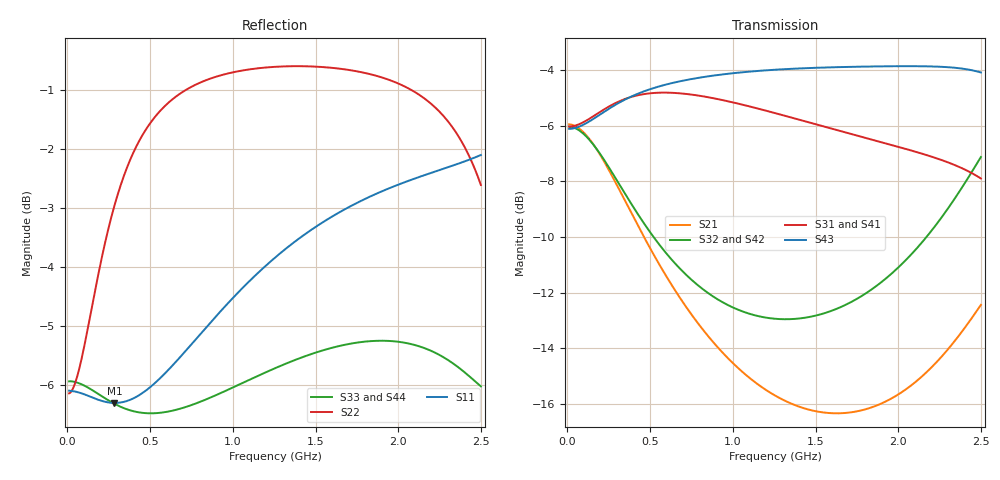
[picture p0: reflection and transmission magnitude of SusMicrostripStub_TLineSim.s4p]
! Touchstone file exported from HFSS 2020.2.0
!  File:  /home/kiran/Ansoft/SusMicrostripStub.aedt
!  Generated:  12:55:17 PM  Mar 16, 2021
!  Design:  TLineSim
!  Project:  SusMicrostripStub
!  Setup:  Setup1
!  Solution:  Sweep
! Variables:
!  AirBoxH = 11.32mm
!  CondT = 0.018mm
!  FeedL = 20mm
!  HighZL = 45mm
!  HighZW = 1mm
!  InputL = 18.4mm
!  InputW = 3.2mm
!  StubL = 16.9mm
!  StubTroughOffset = 5.4mm
!  StubW = 2mm
!  SubH = 0.787mm
!  SubOffset = 15mm
!  TroughH = 5mm
!  TroughW = 10mm
!  TroughW_Stub = 19.8mm
!  W50 = 2.47mm
# GHZ S MA R 50.000000
! Terminal data exported
! Port[1] = 1
! Port[2] = 2
! Port[3] = 3
! Port[4] = 4
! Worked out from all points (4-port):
!   401 points, 10 MHz to 2.5 GHz, reference 50 ohm
!   strongest paths, dB at 10 MHz, 632.5 MHz, 1.255 GHz, 1.877 GHz, 2.5 GHz:
!     S43: -6.1, -4.5, -4.0, -3.9, -4.1
!     S31: -6.0, -4.8, -5.5, -6.6, -7.9
!     S41: -6.0, -4.8, -5.5, -6.6, -7.9
!     S32: -6.0, -10.8, -12.9, -11.7, -7.1
!     S42: -6.0, -10.8, -12.9, -11.7, -7.1
!     S21: -5.9, -11.7, -15.7, -16.0, -12.4
!   lowest |S11| = -6.3 dB at 283.9 MHz (marker M1), VSWR 2.88, Z = 19.7 + j17.1 ohm
!   |S11| at or under -10 dB: nowhere
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0.01  0.4957 178.2  0.5044 -1.9  0.4996 180.0  0.4996 180.0
      0.5044 -1.9  0.4931 175.1  0.4999 178.5  0.4999 178.5
      0.4996 180.0  0.4999 178.5  0.5048 179.0  0.4951 0.1
      0.4996 180.0  0.4999 178.5  0.4951 0.1  0.5048 179.0
0.153175  0.4889 154.9  0.4659 -29.0  0.5209 178.6  0.5209 178.6
          0.4659 -29.0  0.5888 115.6  0.4652 157.5  0.4651 157.5
          0.5209 178.6  0.4652 157.5  0.4959 164.2  0.5151 1.4
          0.5209 178.6  0.4651 157.5  0.5151 1.4  0.4959 164.2
0.2839  0.4839 136.7  0.4 -49.4  0.5497 174.3  0.5497 174.3
        0.4 -49.4  0.7112 81.6  0.4067 142.5  0.4067 142.5
        0.5497 174.3  0.4067 142.5  0.4832 152.5  0.5456 -0.1
        0.5497 174.3  0.4067 142.5  0.5456 -0.1  0.4832 152.4
0.64495  0.5224 101.3  0.2552 -86.0  0.5746 157.5  0.5746 157.5
         0.2552 -86.0  0.8777 37.3  0.2847 118.9  0.2847 118.9
         0.5746 157.5  0.2847 118.9  0.477 126.3  0.5997 -9.7
         0.5746 157.5  0.2847 118.9  0.5997 -9.7  0.4771 126.3
1.211425  0.6348 67.4  0.167 -118.6  0.5328 134.0  0.5327 134.0
          0.167 -118.6  0.9318 8.5  0.2262 99.9  0.2262 99.9
          0.5328 134.0  0.2262 99.9  0.5147 94.5  0.6313 -26.5
          0.5327 134.0  0.2262 99.9  0.6313 -26.5  0.5148 94.5
2.020675  0.7429 38.0  0.1662 -153.7  0.4578 106.5  0.4576 106.5
          0.1662 -153.7  0.9002 -23.2  0.2825 73.9  0.2824 73.9
          0.4578 106.5  0.2825 73.9  0.5448 62.6  0.6419 -51.8
          0.4576 106.5  0.2824 73.9  0.6419 -51.8  0.545 62.6
2.5  0.7852 26.4  0.2387 175.6  0.4031 89.4  0.4029 89.4
     0.2387 175.6  0.7406 -61.4  0.4406 45.7  0.4404 45.7
     0.4031 89.4  0.4406 45.7  0.4998 53.1  0.6253 -71.7
     0.4029 89.4  0.4404 45.7  0.6253 -71.7  0.5002 53.1
